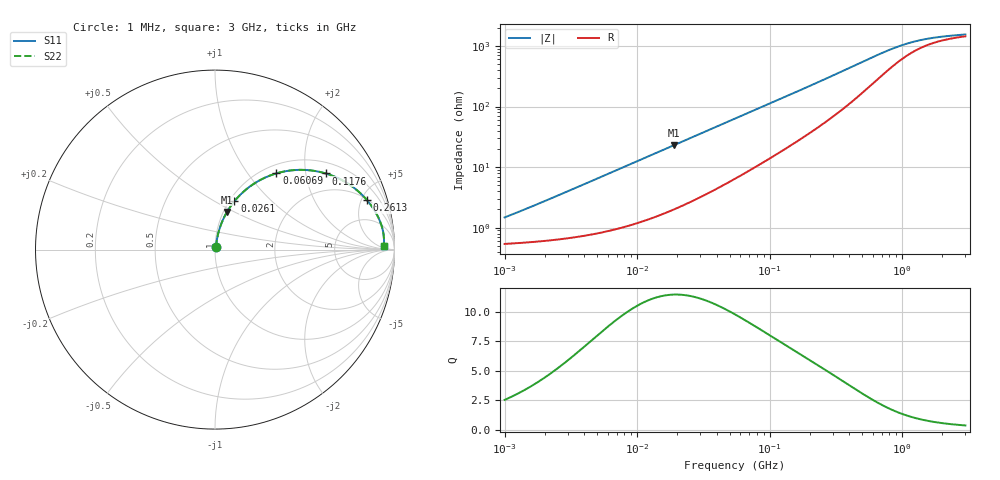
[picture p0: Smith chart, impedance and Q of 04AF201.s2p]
# MHz S MA R 50
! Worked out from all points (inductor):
!   352 points, 1 MHz to 3 GHz, reference 50 ohm
!   read as one part in series: L = 215 nH near 1.228 MHz
!   highest Q = 11.5 at 18.96 MHz (marker M1), where L = 192 nH
!   S11 on the Smith chart (normalised r, x): 1 MHz: 1.01, +0.03; 26.1 MHz: 1.05, +0.62; 60.69 MHz: 1.15, +1.39; 117.6 MHz: 1.34, +2.60; 261.3 MHz: 2.09, +5.58; 3 GHz: 30, +11
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1  0.01468 67.8  0.9945 -0.8  0.9945 -0.8  0.01468 67.8
1.728828  0.02382 74.5  0.9939 -1.3  0.9939 -1.3  0.02382 74.5
3.841257  0.05002 78.9  0.9916 -2.8  0.9916 -2.8  0.05002 78.9
7.790576  0.09723 78.6  0.9854 -5.6  0.9854 -5.6  0.09723 78.6
14.4225  0.172 75.1  0.97 -9.9  0.97 -9.9  0.172 75.1
18.96341  0.2202 72.3  0.9565 -12.7  0.9565 -12.7  0.2202 72.3
26.09786  0.2906 68.1  0.9316 -16.8  0.9316 -16.8  0.2906 68.1
38.46029  0.3976 61.3  0.8812 -23.3  0.8812 -23.3  0.3976 61.3
55.40051  0.515 53.3  0.8063 -30.8  0.8063 -30.8  0.515 53.3
60.69307  0.5454 51.1  0.783 -32.8  0.783 -32.8  0.5454 51.1
85.45432  0.6571 42.6  0.6809 -40.7  0.6809 -40.7  0.6571 42.6
117.6041  0.7486 34.5  0.5718 -47.9  0.5718 -47.9  0.7486 34.5
158.1994  0.8162 27.6  0.4688 -53.8  0.4688 -53.8  0.8162 27.6
208.0084  0.8628 22.0  0.38 -58.2  0.38 -58.2  0.8628 22.0
261.3028  0.8912 17.9  0.3137 -61.0  0.3137 -61.0  0.8912 17.9
335.8255  0.9135 14.1  0.2503 -62.9  0.2503 -62.9  0.9135 14.1
431.6019  0.9282 10.9  0.1973 -63.3  0.1973 -63.3  0.9282 10.9
799.0137  0.9426 5.5  0.1093 -55.7  0.1093 -55.7  0.9426 5.5
1074.822  0.9434 3.9  0.08663 -47.3  0.08663 -47.3  0.9434 3.9
1413.229  0.9429 2.8  0.07429 -38.4  0.07429 -38.4  0.9429 2.8
1944.917  0.9426 2.0  0.06639 -29.1  0.06639 -29.1  0.9426 2.0
3000  0.9431 1.3  0.06073 -19.9  0.06073 -19.9  0.9431 1.3
